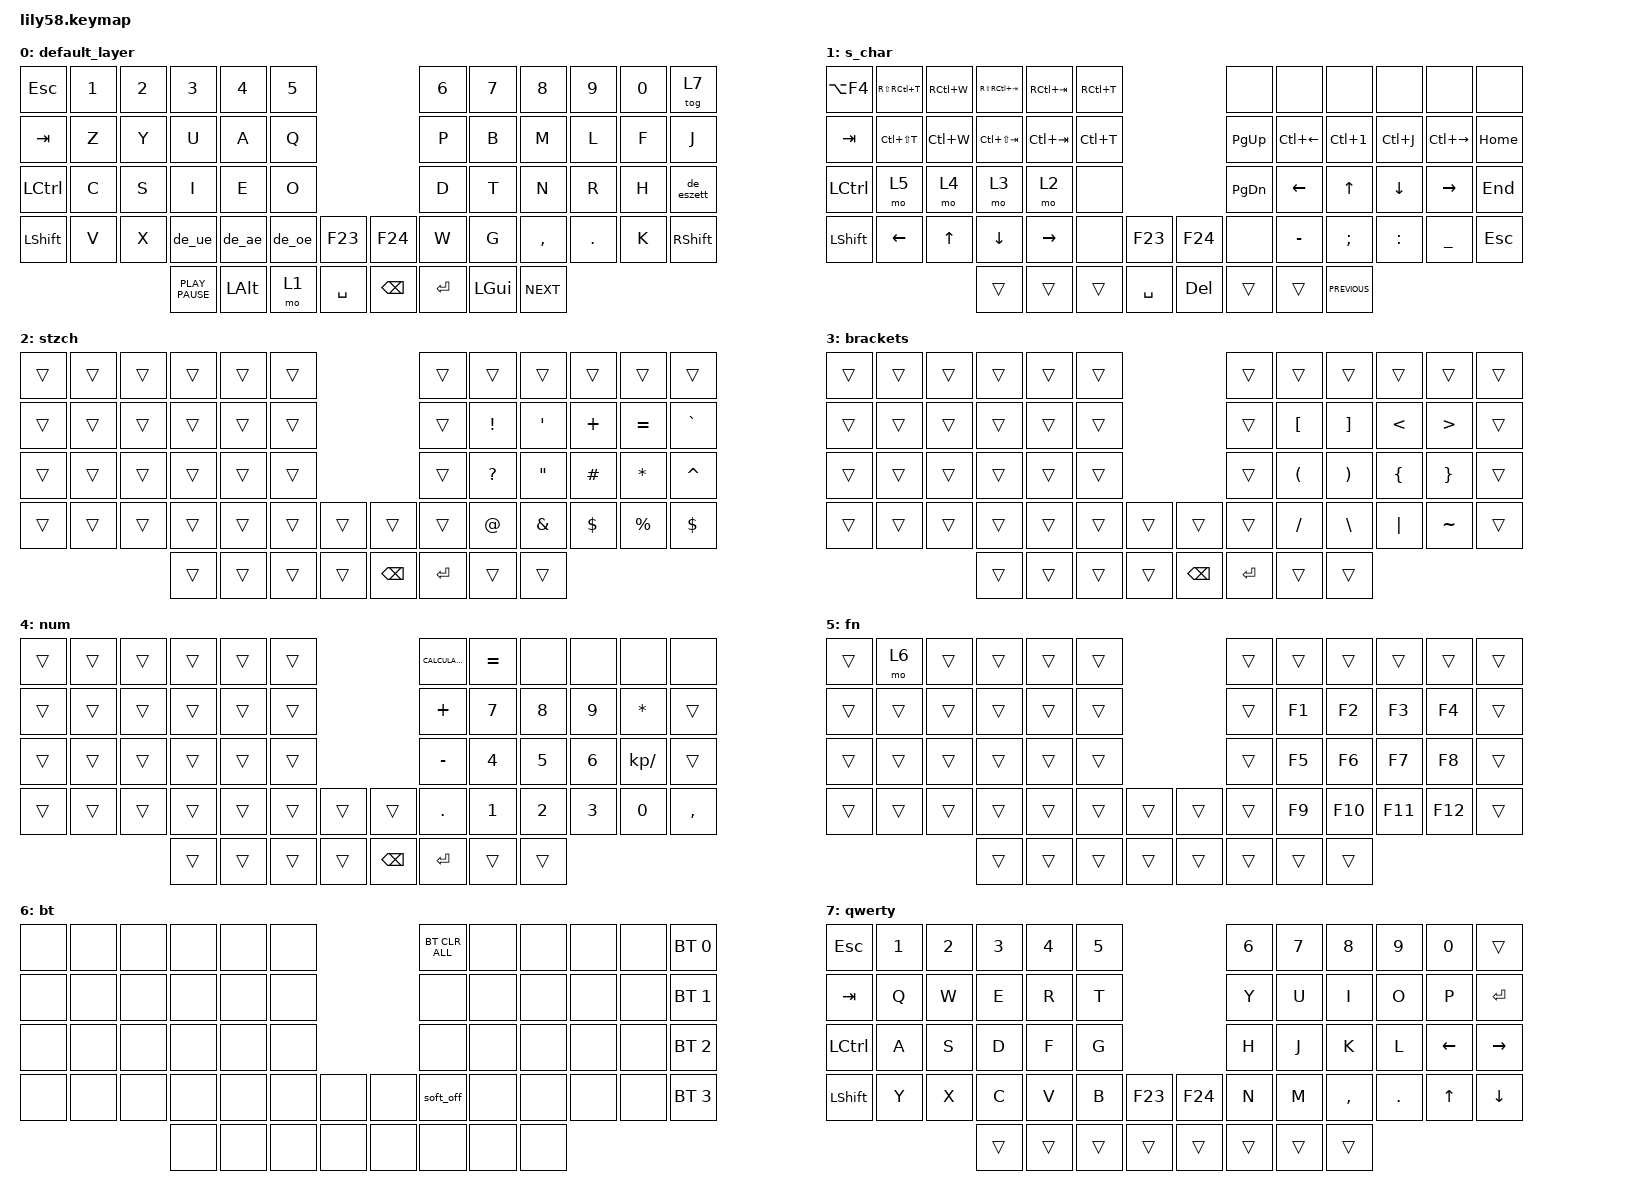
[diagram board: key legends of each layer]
/*
 * Copyright (c) 2020 The ZMK Contributors
 *
 * SPDX-License-Identifier: MIT
 */

#include "zmk-helpers/helper.h"
#include "zmk-helpers/key-labels/lily58.h"
#include "zmk-helpers/unicode-chars/german.dtsi"
#include <behaviors.dtsi>
#include <dt-bindings/zmk/bt.h>
#include <dt-bindings/zmk/keys.h>

/ {
    keymap {
        compatible = "zmk,keymap";

        default_layer {
            bindings = <
&kp ESC    &kp NUMBER_1  &kp NUMBER_2  &kp N3            &kp NUMBER_4  &kp NUMBER_5                              &kp N6     &kp N7    &kp N8      &kp N9      &kp NUMBER_0  &tog 7
&kp TAB    &kp Z         &kp Y         &kp U             &kp A         &kp Q                                     &kp P      &kp B     &kp M       &kp L       &kp F         &kp J
&kp LCTRL  &kp C         &kp S         &kp I             &kp E         &kp O                                     &kp D      &kp T     &kp N       &kp R       &kp H         &de_eszett
&kp LSHFT  &kp V         &kp X         &de_ue            &de_ae        &de_oe        &kp F23      &kp F24        &kp W      &kp G     &kp COMMA   &kp PERIOD  &kp K         &kp RSHFT
                                       &kp K_PLAY_PAUSE  &kp LALT      &mo 1         &kp SPACE    &kp BACKSPACE  &kp ENTER  &kp LGUI  &kp K_NEXT
            >;
        };

        s_char {
            bindings = <
&kp LA(F4)  &kp RS(RC(T))  &kp RC(W)  &kp RS(RC(TAB))  &kp RC(TAB)  &kp RC(T)                           &none      &none         &none             &none      &none           &none
&kp TAB     &kp LC(LS(T))  &kp LC(W)  &kp LC(LS(TAB))  &kp LC(TAB)  &kp LC(T)                           &kp PG_UP  &kp LC(LEFT)  &kp LC(NUMBER_1)  &kp LC(J)  &kp LC(RIGHT)   &kp HOME
&kp LCTRL   &mo 5          &mo 4      &mo 3            &mo 2        &none                               &kp PG_DN  &kp LEFT      &kp UP            &kp DOWN   &kp RIGHT       &kp END
&kp LSHFT   &kp LEFT       &kp UP     &kp DOWN         &kp RIGHT    &none      &kp F23      &kp F24     &none      &kp MINUS     &kp SEMICOLON     &kp COLON  &kp UNDERSCORE  &kp ESC
                                      &trans           &trans       &trans     &kp SPACE    &kp DELETE  &trans     &trans        &kp K_PREVIOUS
            >;
        };

        stzch {
            bindings = <
&trans  &trans  &trans  &trans  &trans  &trans                      &trans     &trans           &trans             &trans      &trans       &trans
&trans  &trans  &trans  &trans  &trans  &trans                      &trans     &kp EXCLAMATION  &kp SINGLE_QUOTE   &kp PLUS    &kp EQUAL    &kp GRAVE
&trans  &trans  &trans  &trans  &trans  &trans                      &trans     &kp QUESTION     &kp DOUBLE_QUOTES  &kp POUND   &kp ASTRK    &kp CARET
&trans  &trans  &trans  &trans  &trans  &trans  &trans    &trans    &trans     &kp AT           &kp AMPERSAND      &kp DOLLAR  &kp PERCENT  &kp DOLLAR
                        &trans  &trans  &trans  &trans    &kp BSPC  &kp ENTER  &trans           &trans
            >;
        };

        brackets {
            bindings = <
&trans  &trans  &trans  &trans  &trans  &trans                      &trans     &trans                &trans                 &trans    &trans            &trans
&trans  &trans  &trans  &trans  &trans  &trans                      &trans     &kp LBKT              &kp RBKT               &kp LT    &kp GREATER_THAN  &trans
&trans  &trans  &trans  &trans  &trans  &trans                      &trans     &kp LEFT_PARENTHESIS  &kp RIGHT_PARENTHESIS  &kp LBRC  &kp RBRC          &trans
&trans  &trans  &trans  &trans  &trans  &trans  &trans    &trans    &trans     &kp SLASH             &kp BACKSLASH          &kp PIPE  &kp TILDE         &trans
                        &trans  &trans  &trans  &trans    &kp BSPC  &kp ENTER  &trans                &trans
            >;
        };

        num {
            bindings = <
&trans  &trans  &trans  &trans  &trans  &trans                      &kp K_CALCULATOR  &kp EQUAL  &none   &none   &none          &none
&trans  &trans  &trans  &trans  &trans  &trans                      &kp PLUS          &kp N7     &kp N8  &kp N9  &kp ASTERISK   &trans
&trans  &trans  &trans  &trans  &trans  &trans                      &kp MINUS         &kp N4     &kp N5  &kp N6  &kp KP_DIVIDE  &trans
&trans  &trans  &trans  &trans  &trans  &trans  &trans    &trans    &kp DOT           &kp N1     &kp N2  &kp N3  &kp N0         &kp COMMA
                        &trans  &trans  &trans  &trans    &kp BSPC  &kp ENTER         &trans     &trans
            >;
        };

        fn {
            bindings = <
&trans  &mo 6   &trans  &trans  &trans  &trans                    &trans  &trans  &trans   &trans   &trans   &trans
&trans  &trans  &trans  &trans  &trans  &trans                    &trans  &kp F1  &kp F2   &kp F3   &kp F4   &trans
&trans  &trans  &trans  &trans  &trans  &trans                    &trans  &kp F5  &kp F6   &kp F7   &kp F8   &trans
&trans  &trans  &trans  &trans  &trans  &trans  &trans    &trans  &trans  &kp F9  &kp F10  &kp F11  &kp F12  &trans
                        &trans  &trans  &trans  &trans    &trans  &trans  &trans  &trans
            >;
        };

        bt {
            bindings = <
&none  &none  &none  &none  &none  &none                  &bt BT_CLR_ALL  &none  &none  &none  &none  &bt BT_SEL 0
&none  &none  &none  &none  &none  &none                  &none           &none  &none  &none  &none  &bt BT_SEL 1
&none  &none  &none  &none  &none  &none                  &none           &none  &none  &none  &none  &bt BT_SEL 2
&none  &none  &none  &none  &none  &none  &none    &none  &soft_off       &none  &none  &none  &none  &bt BT_SEL 3
                     &none  &none  &none  &none    &none  &none           &none  &none
            >;
        };

        qwerty {
            bindings = <
&kp ESC           &kp N1  &kp N2  &kp N3  &kp N4  &kp N5                      &kp N6  &kp N7  &kp N8     &kp N9   &kp N0    &trans
&kp TAB           &kp Q   &kp W   &kp E   &kp R   &kp T                       &kp Y   &kp U   &kp I      &kp O    &kp P     &kp ENTER
&kp LEFT_CONTROL  &kp A   &kp S   &kp D   &kp F   &kp G                       &kp H   &kp J   &kp K      &kp L    &kp LEFT  &kp RIGHT
&kp LSHFT         &kp Y   &kp X   &kp C   &kp V   &kp B   &kp F23    &kp F24  &kp N   &kp M   &kp COMMA  &kp DOT  &kp UP    &kp DOWN
                                  &trans  &trans  &trans  &trans     &trans   &trans  &trans  &trans
            >;
        };
    };
};
